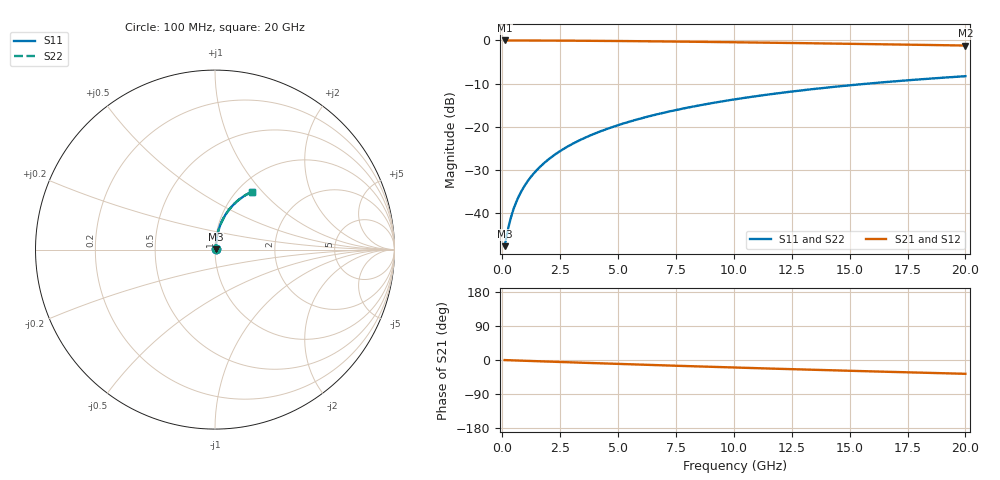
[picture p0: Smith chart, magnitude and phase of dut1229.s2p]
! Touchstone file exported from HFSS 2024.1.0
!  File:  C:/UserFiles/LocalFiles/RDL_TSV_Batchsim/temp_RDL_top_1229_1780240582.aedt
!  Generated:  11:18:46 PM May 31, 2026
!  Design:  RDL_top
!  Project:  temp_RDL_top_1229_1780240582
!  Setup:  Setup1
!  Solution:  Sweep
! Variables:
!  dtsv = 10.80580581um
!  hbump = 3um
!  htsv = 79.63um
!  ldown = 100um
!  lrdl = 498.16um
!  p = 40
!  p1 = 41.94um
!  rhole = 1um
!  t = 450um
!  tdown = 3.915915916um
!  trdl = 3.59um
!  wdown = 15.38538539um
!  wrdl = 14.34um
# GHz S MA R 50.000000
! Terminal data exported
! Port[1] = Box2_T1
! Port[2] = Box2_T2
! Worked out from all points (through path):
!   200 points, 100 MHz to 20 GHz, reference 50 ohm
!   highest |S21| = -0.03 dB at 100 MHz (marker M1); lowest = -1.2 dB at 20 GHz (marker M2)
!   group delay of S21, straight-line fit = 5.05 ps
!   lowest |S11| = -47.6 dB at 100 MHz (marker M3), VSWR 1.01, Z = 50.4 + j0.223 ohm
!   |S11| at or under -10 dB: start of sweep to 15.8 GHz
!   |S22| runs from -47.6 to -8.3 dB; largest |S21 - S12| = 3.3e-15
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0.1  0.004179 32.1  0.9965 -0.2  0.9965 -0.2  0.004179 32.1
! Gamma 0 0 0 0
! Port Impedance 50 0 50 0
0.2  0.005711 50.5  0.9964 -0.4  0.9964 -0.4  0.005711 50.5
0.3  0.007555 60.2  0.9962 -0.6  0.9962 -0.6  0.007555 60.2
0.4  0.009501 65.9  0.9961 -0.9  0.9961 -0.9  0.009501 65.9
0.5  0.01148 69.6  0.996 -1.1  0.996 -1.1  0.01148 69.6
0.6  0.01348 72.1  0.9958 -1.3  0.9958 -1.3  0.01348 72.1
0.8  0.01751 75.5  0.9956 -1.7  0.9956 -1.7  0.01751 75.5
1.1  0.02362 78.3  0.9951 -2.3  0.9951 -2.3  0.02362 78.3
1.3  0.02772 79.4  0.9948 -2.7  0.9948 -2.7  0.02772 79.4
1.6  0.0339 80.5  0.9943 -3.4  0.9943 -3.4  0.0339 80.5
2.1  0.04425 81.4  0.9932 -4.4  0.9932 -4.4  0.04425 81.4
2.7  0.05671 81.6  0.9915 -5.6  0.9915 -5.6  0.05671 81.7
3.5  0.07337 81.4  0.9887 -7.3  0.9887 -7.3  0.07338 81.4
4.2  0.08796 80.8  0.9858 -8.7  0.9858 -8.7  0.08797 80.8
5  0.1046 80.0  0.982 -10.3  0.982 -10.3  0.1046 80.0
5.9  0.1234 78.9  0.9772 -12.1  0.9772 -12.1  0.1234 78.9
6.8  0.142 77.7  0.9719 -13.8  0.9719 -13.8  0.142 77.7
8.3  0.1728 75.5  0.9623 -16.7  0.9623 -16.7  0.1729 75.5
10.1  0.2091 72.7  0.9496 -20.0  0.9496 -20.0  0.2092 72.8
13.4  0.2728 67.5  0.9245 -25.8  0.9245 -25.8  0.2729 67.5
16.7  0.3317 62.2  0.8978 -31.3  0.8978 -31.3  0.3318 62.3
20  0.3849 57.2  0.8705 -36.4  0.8705 -36.4  0.3851 57.2
